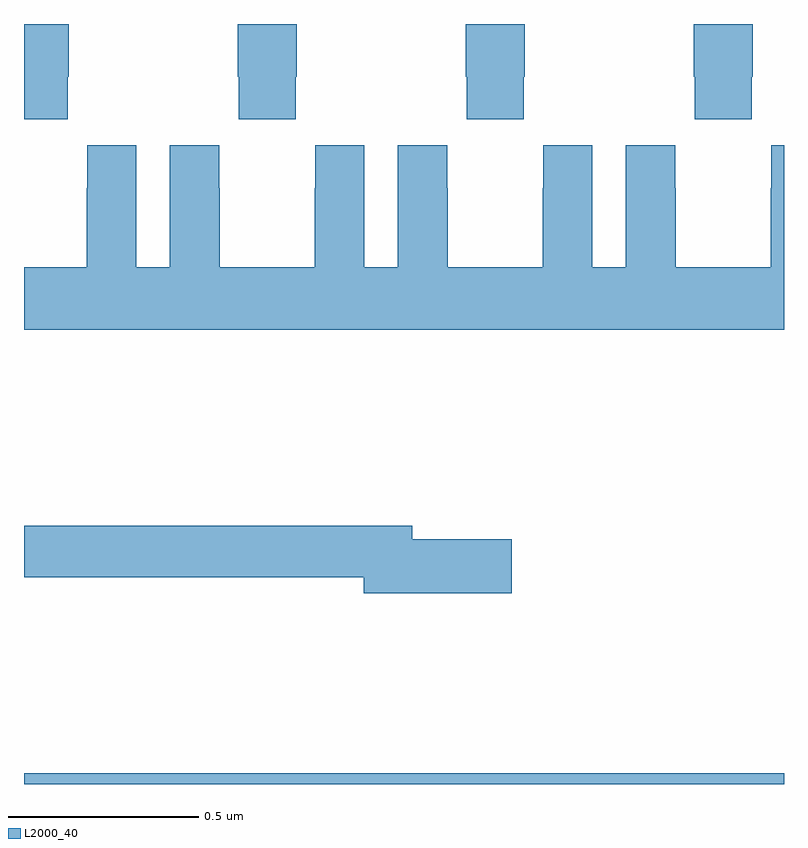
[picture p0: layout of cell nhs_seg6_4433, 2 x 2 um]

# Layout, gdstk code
import gdstk
lib = gdstk.Library(unit=1e-6, precision=1e-09)
def R(c, l, rs):  # rectangles x0, y0, x1, y1
    for r in rs: c.add(gdstk.rectangle(r[:2], r[2:], *l))
def P(c, l, *ps):  # polygons
    for p in ps: c.add(gdstk.Polygon(p, *l))
L2000_40 = (2000, 40)

nhs_seg6_4433 = lib.new_cell('nhs_seg6_4433')
R(nhs_seg6_4433, L2000_40, [(170,919.5,172,919.528)])
P(nhs_seg6_4433, L2000_40, [(170.115,921.361),(170.118,921.361),(170.118,921.5),(170,921.5),(170,921.249),(170.115,921.249)],
  [(170.715,921.361),(170.718,921.361),(170.718,921.5),(170.563,921.5),(170.563,921.361),(170.565,921.361),(170.565,921.249),(170.715,921.249)],
  [(171.315,921.361),(171.318,921.361),(171.318,921.5),(171.163,921.5),(171.163,921.361),(171.165,921.361),(171.165,921.249),(171.315,921.249)],
  [(171.915,921.361),(171.918,921.361),(171.918,921.5),(171.763,921.5),(171.763,921.361),(171.765,921.361),(171.765,921.249),(171.915,921.249)],
  [(172,921.181),(171.966,921.181),(171.966,921.068),(171.965,921.068),(171.965,920.86),(171.715,920.86),(171.715,921.068),(171.714,921.068),(171.714,921.181),(171.584,921.181),(171.584,920.86),(171.496,920.86),(171.496,921.181),(171.366,921.181),(171.366,921.068),(171.365,921.068),(171.365,920.86),(171.115,920.86),(171.115,921.068),(171.114,921.068),(171.114,921.181),(170.984,921.181),(170.984,920.86),(170.896,920.86),(170.896,921.181),(170.766,921.181),(170.766,921.068),(170.765,921.068),(170.765,920.86),(170.515,920.86),(170.515,921.068),(170.514,921.068),(170.514,921.181),(170.384,921.181),(170.384,920.86),(170.296,920.86),(170.296,921.181),(170.166,921.181),(170.166,921.068),(170.165,921.068),(170.165,920.86),(170,920.86),(170,920.696),(172,920.696)],
  [(171.283,920.144),(171.022,920.144),(171.022,920.18),(170,920.18),(170,920.044),(170.894,920.044),(170.894,920.002),(171.283,920.002)])

lib.write_gds('nhs_seg6_4433.gds')
